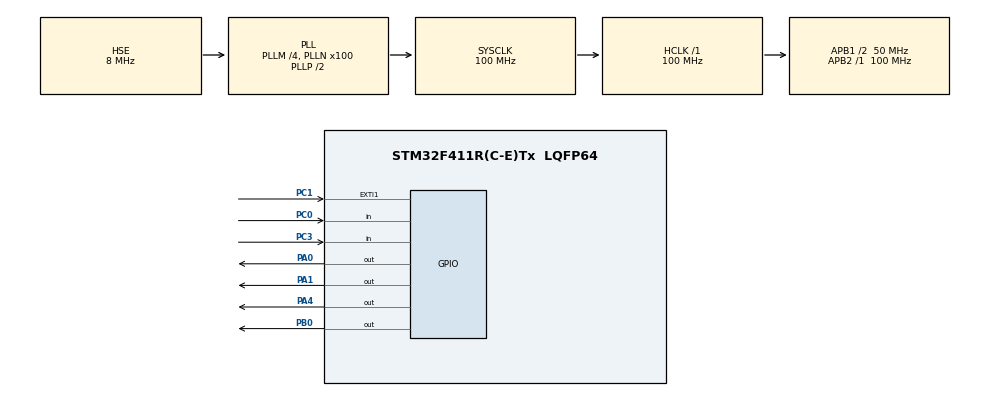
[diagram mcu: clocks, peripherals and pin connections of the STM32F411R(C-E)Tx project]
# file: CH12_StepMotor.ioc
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Mcu.Family=STM32F4
Mcu.Name=STM32F411R(C-E)Tx
Mcu.Package=LQFP64
NVIC.PriorityGroup=NVIC_PRIORITYGROUP_4
NVIC.TIM1_BRK_TIM9_IRQn=true\:0\:0\:false\:false\:true\:true\:true\:true
PA0-WKUP.Signal=GPIO_Output
PA1.Signal=GPIO_Output
PA13.Mode=Serial_Wire
PA13.Signal=SYS_JTMS-SWDIO
PA14.Mode=Serial_Wire
PA14.Signal=SYS_JTCK-SWCLK
PA4.Signal=GPIO_Output
PB0.Signal=GPIO_Output
PC0.Signal=GPIO_Input
PC1.Signal=GPXTI1
PC3.Signal=GPIO_Input
PH0\ -\ OSC_IN.Mode=HSE-External-Oscillator
PH0\ -\ OSC_IN.Signal=RCC_OSC_IN
PH1\ -\ OSC_OUT.Mode=HSE-External-Oscillator
PH1\ -\ OSC_OUT.Signal=RCC_OSC_OUT
ProjectManager.HeapSize=0x200
ProjectManager.StackSize=0x400
ProjectManager.TargetToolchain=STM32CubeIDE
RCC.48MHZClocksFreq_Value=50000000
RCC.AHBFreq_Value=100000000
RCC.APB1CLKDivider=RCC_HCLK_DIV2
RCC.APB1Freq_Value=50000000
RCC.APB1TimFreq_Value=100000000
RCC.APB2Freq_Value=100000000
RCC.APB2TimFreq_Value=100000000
RCC.CortexFreq_Value=100000000
RCC.HCLKFreq_Value=100000000
RCC.HSE_VALUE=8000000
RCC.HSI_VALUE=16000000
RCC.LSE_VALUE=32768
RCC.PLLM=4
RCC.PLLN=100
RCC.PLLSourceVirtual=RCC_PLLSOURCE_HSE
RCC.SYSCLKFreq_VALUE=100000000
RCC.SYSCLKSource=RCC_SYSCLKSOURCE_PLLCLK
RCC.VCOOutputFreq_Value=200000000
TIM9.AutoReloadPreload=TIM_AUTORELOAD_PRELOAD_ENABLE
TIM9.Period=1000-1
TIM9.Prescaler=100-1
VP_TIM9_VS_ClockSourceINT.Mode=Internal
board=custom

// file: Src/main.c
/* USER CODE BEGIN Header */
/**
 ******************************************************************************
 * @file           : main.c
 * @brief          : Main program body
 ******************************************************************************
 * @attention
 *
 * Copyright (c) 2026 STMicroelectronics.
 * All rights reserved.
 *
 * This software is licensed under terms that can be found in the LICENSE file
 * in the root directory of this software component.
 * If no LICENSE file comes with this software, it is provided AS-IS.
 *
 ******************************************************************************
 */
/* USER CODE END Header */
#include "main.h"

/* USER CODE BEGIN Includes */
#include "driver/button/button.h"
#include "driver/StepMotor/StepMotor.h"
/* USER CODE END Includes */

TIM_HandleTypeDef htim9;

void SystemClock_Config(void);
static void MX_GPIO_Init(void);
static void MX_TIM9_Init(void);
/* USER CODE BEGIN PFP */

void ClockNeedle_setFlag(void);
void ClockNeedle_setFlag(void);
void ClockNeedle_ISR(void);
void ClockNeedle_task(void);

/* USER CODE END PFP */

/* USER CODE BEGIN 0 */
StepMotor_pin_t stepMotorPinSec = {
		.port = {GPIOA, GPIOA, GPIOA, GPIOB},
		.pin = {GPIO_PIN_0, GPIO_PIN_1, GPIO_PIN_4, GPIO_PIN_0}
};
StepMotor_t motor_sec = {
		.pin = &stepMotorPinSec,
		.stepCounter = 0
};

void HAL_TIM_PeriodElapsedCallback(TIM_HandleTypeDef *htim)
{
	if(htim->Instance == TIM9){
		ClockNeedle_ISR();
	}
}

__IO uint8_t isrFlag = 0;

void ClockNeedle_setFlag(void){
	isrFlag = 1;
}
void ClockNeedle_clearFlag(void){
	isrFlag = 0;
}

void ClockNeedle_ISR(void){
	ClockNeedle_setFlag();
}

void ClockNeedle_task(void){
	if(isrFlag == 0){
		StepMotor_release(&motor_sec);
		return;
	}
	ClockNeedle_clearFlag();
	StepMotor_StepPhase(&motor_sec, STEP_MOTOR_DIR_CW);
}
/* USER CODE END 0 */

int main(void)
{

  /* MCU Configuration--------------------------------------------------------*/

  /* Reset of all peripherals, Initializes the Flash interface and the Systick. */
  HAL_Init();

  /* Configure the system clock */
  SystemClock_Config();

  /* Initialize all configured peripherals */
  MX_GPIO_Init();
  MX_TIM9_Init();
  /* USER CODE BEGIN 2 */
	button_t btn_up;
	button_t btn_down;

	button_init(&btn_up, GPIOC, GPIO_PIN_0);
	button_init(&btn_down, GPIOC, GPIO_PIN_1);

	HAL_TIM_Base_Start_IT(&htim9);
  /* USER CODE END 2 */

  /* Infinite loop */
  /* USER CODE BEGIN WHILE */
	while (1)
	{
		ClockNeedle_task();
		if(button_getState(&btn_up)==ACT_RELEASE){
			__HAL_TIM_SET_AUTORELOAD(&htim9, 1000-1);
		}
		else if(button_getState(&btn_down)==ACT_RELEASE){
			__HAL_TIM_SET_AUTORELOAD(&htim9, 10000-1);
		}

    /* USER CODE END WHILE */

	}
}

void SystemClock_Config(void)
{
  RCC_OscInitTypeDef RCC_OscInitStruct = {0};
  RCC_ClkInitTypeDef RCC_ClkInitStruct = {0};

  /** Configure the main internal regulator output voltage
  */
  __HAL_RCC_PWR_CLK_ENABLE();
  __HAL_PWR_VOLTAGESCALING_CONFIG(PWR_REGULATOR_VOLTAGE_SCALE1);

  /** Initializes the RCC Oscillators according to the specified parameters
  * in the RCC_OscInitTypeDef structure.
  */
  RCC_OscInitStruct.OscillatorType = RCC_OSCILLATORTYPE_HSE;
  RCC_OscInitStruct.HSEState = RCC_HSE_ON;
  RCC_OscInitStruct.PLL.PLLState = RCC_PLL_ON;
  RCC_OscInitStruct.PLL.PLLSource = RCC_PLLSOURCE_HSE;
  RCC_OscInitStruct.PLL.PLLM = 4;
  RCC_OscInitStruct.PLL.PLLN = 100;
  RCC_OscInitStruct.PLL.PLLP = RCC_PLLP_DIV2;
  RCC_OscInitStruct.PLL.PLLQ = 4;
  if (HAL_RCC_OscConfig(&RCC_OscInitStruct) != HAL_OK)
  {
    Error_Handler();
  }

  /** Initializes the CPU, AHB and APB buses clocks
  */
  RCC_ClkInitStruct.ClockType = RCC_CLOCKTYPE_HCLK|RCC_CLOCKTYPE_SYSCLK
                              |RCC_CLOCKTYPE_PCLK1|RCC_CLOCKTYPE_PCLK2;
  RCC_ClkInitStruct.SYSCLKSource = RCC_SYSCLKSOURCE_PLLCLK;
  RCC_ClkInitStruct.AHBCLKDivider = RCC_SYSCLK_DIV1;
  RCC_ClkInitStruct.APB1CLKDivider = RCC_HCLK_DIV2;
  RCC_ClkInitStruct.APB2CLKDivider = RCC_HCLK_DIV1;

  if (HAL_RCC_ClockConfig(&RCC_ClkInitStruct, FLASH_LATENCY_3) != HAL_OK)
  {
    Error_Handler();
  }
}

static void MX_TIM9_Init(void)
{

  TIM_ClockConfigTypeDef sClockSourceConfig = {0};

  htim9.Instance = TIM9;
  htim9.Init.Prescaler = 100-1;
  htim9.Init.CounterMode = TIM_COUNTERMODE_UP;
  htim9.Init.Period = 1000-1;
  htim9.Init.ClockDivision = TIM_CLOCKDIVISION_DIV1;
  htim9.Init.AutoReloadPreload = TIM_AUTORELOAD_PRELOAD_ENABLE;
  if (HAL_TIM_Base_Init(&htim9) != HAL_OK)
  {
    Error_Handler();
  }
  sClockSourceConfig.ClockSource = TIM_CLOCKSOURCE_INTERNAL;
  if (HAL_TIM_ConfigClockSource(&htim9, &sClockSourceConfig) != HAL_OK)
  {
    Error_Handler();
  }

}

static void MX_GPIO_Init(void)
{
  GPIO_InitTypeDef GPIO_InitStruct = {0};

  /* GPIO Ports Clock Enable */
  __HAL_RCC_GPIOH_CLK_ENABLE();
  __HAL_RCC_GPIOC_CLK_ENABLE();
  __HAL_RCC_GPIOA_CLK_ENABLE();
  __HAL_RCC_GPIOB_CLK_ENABLE();

  /*Configure GPIO pin Output Level */
  HAL_GPIO_WritePin(GPIOA, GPIO_PIN_0|GPIO_PIN_1|GPIO_PIN_4, GPIO_PIN_RESET);

  /*Configure GPIO pin Output Level */
  HAL_GPIO_WritePin(GPIOB, GPIO_PIN_0, GPIO_PIN_RESET);

  /*Configure GPIO pins : PC0 PC3 */
  GPIO_InitStruct.Pin = GPIO_PIN_0|GPIO_PIN_3;
  GPIO_InitStruct.Mode = GPIO_MODE_INPUT;
  GPIO_InitStruct.Pull = GPIO_NOPULL;
  HAL_GPIO_Init(GPIOC, &GPIO_InitStruct);

  /*Configure GPIO pin : PC1 */
  GPIO_InitStruct.Pin = GPIO_PIN_1;
  GPIO_InitStruct.Mode = GPIO_MODE_IT_RISING;
  GPIO_InitStruct.Pull = GPIO_NOPULL;
  HAL_GPIO_Init(GPIOC, &GPIO_InitStruct);

  /*Configure GPIO pins : PA0 PA1 PA4 */
  GPIO_InitStruct.Pin = GPIO_PIN_0|GPIO_PIN_1|GPIO_PIN_4;
  GPIO_InitStruct.Mode = GPIO_MODE_OUTPUT_PP;
  GPIO_InitStruct.Pull = GPIO_NOPULL;
  GPIO_InitStruct.Speed = GPIO_SPEED_FREQ_LOW;
  HAL_GPIO_Init(GPIOA, &GPIO_InitStruct);

  /*Configure GPIO pin : PB0 */
  GPIO_InitStruct.Pin = GPIO_PIN_0;
  GPIO_InitStruct.Mode = GPIO_MODE_OUTPUT_PP;
  GPIO_InitStruct.Pull = GPIO_NOPULL;
  GPIO_InitStruct.Speed = GPIO_SPEED_FREQ_LOW;
  HAL_GPIO_Init(GPIOB, &GPIO_InitStruct);

}

void Error_Handler(void)
{
	__disable_irq();
	while (1)
	{
	}
}
